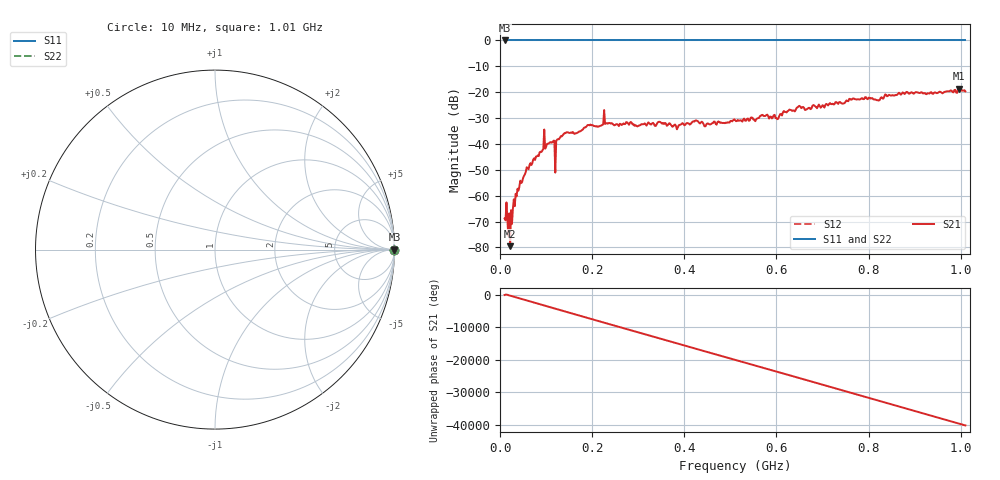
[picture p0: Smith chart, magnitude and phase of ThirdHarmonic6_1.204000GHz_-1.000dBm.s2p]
! 8/16/2025 12:29:45 PM
! C:\ANRITSUVNA\TEMP\TEMP.S2P
! CHANNEL.1
! TR.MEASUREMENT
! RAW.DATA
! RF.CORRECTION.OFF
! AVERAGING.OFF
! IF.BANDWIDTH: 5KHZ
! SWEEPTYPE:  FREQ.SWEEP(Linear)
! Reference Plane Port Info
! PORT:  PORT1  PORT2
! DISTANCE:  0  m  0  m
! TIME:  0  s  0  s
! PHASE.OFFSET:  0  deg.  0  deg.
! LOSS:  0  dB  0  dB
! REF.LOSS:  0  dB  0  dB
! REF.FREQ:  0  Hz  0  Hz
! Power Info
! POWER:  -20  dBm  -20  dBm
! EFF.POWER:  -20  dBm  -20  dBm
! SOURCE.ATTEN:  0  dB  0  dB
! TEST.ATTEN:  0  dB  0  dB
# GHZ S RI R 50.0
! FREQ.GHZ  S11RE  S11IM  S21RE  S21IM  S12RE  S12IM  S22RE  S22IM
!; PortSelection: Port_12
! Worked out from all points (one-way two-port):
!   501 points, 10 MHz to 1.01 GHz, reference 50 ohm
!   highest |S21| = -18.67 dB at 996 MHz (marker M1); lowest = -79.5 dB at 22 MHz (marker M2)
!   lowest |S11| = 0.0 dB at 10 MHz (marker M3)
!   |S11| at or under -10 dB: nowhere
!   |S22| runs from 0.0 to 0.0 dB; largest |S21 - S12| = 1.1
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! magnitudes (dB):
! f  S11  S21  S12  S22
! 10 MHz  0.0  -68.8  0.0  0.0
! 22 MHz  0.0  -79.5  0.0  0.0
! 32 MHz  0.0  -64.1  0.0  0.0
! 42 MHz  0.0  -56.5  0.0  0.0
! 92 MHz  0.0  -42.6  0.0  0.0
! 114 MHz  0.0  -39.3  0.0  0.0
! 116 MHz  0.0  -38.8  0.0  0.0
! 124 MHz  0.0  -38.3  0.0  0.0
! 126 MHz  0.0  -38.2  0.0  0.0
! 142 MHz  0.0  -35.9  0.0  0.0
! 178 MHz  0.0  -34.6  0.0  0.0
! 230 MHz  0.0  -32.0  0.0  0.0
! 296 MHz  0.0  -33.0  0.0  0.0
! 344 MHz  0.0  -31.5  0.0  0.0
! 386 MHz  0.0  -33.6  0.0  0.0
! 510 MHz  0.0  -30.8  0.0  0.0
! 602 MHz  0.0  -30.5  0.0  0.0
! 648 MHz  0.0  -25.4  0.0  0.0
! 678 MHz  0.0  -25.3  0.0  0.0
! 844 MHz  0.0  -21.0  0.0  0.0
! 996 MHz  0.0  -18.7  0.0  0.0
! 1.01 GHz  0.0  -19.7  0.0  0.0
